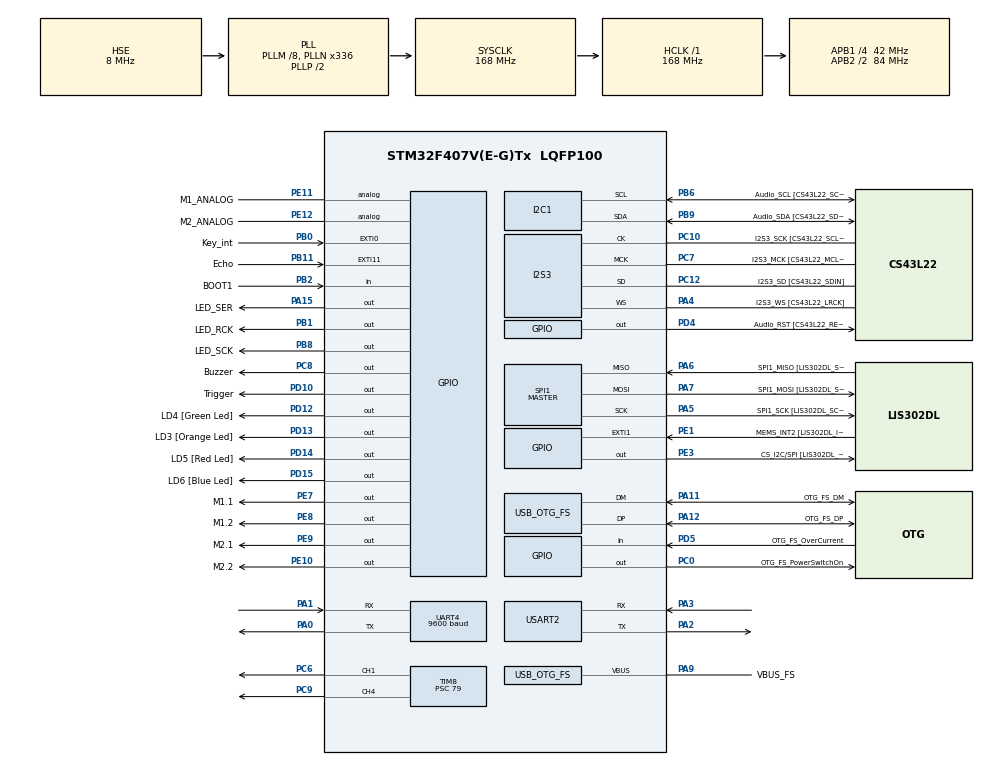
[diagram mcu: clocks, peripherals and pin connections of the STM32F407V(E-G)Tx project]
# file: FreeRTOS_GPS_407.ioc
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Dma.Request0=TIM8_CH1
Dma.TIM8_CH1.0.Direction=DMA_MEMORY_TO_PERIPH
Dma.TIM8_CH1.0.FIFOMode=DMA_FIFOMODE_ENABLE
Dma.TIM8_CH1.0.FIFOThreshold=DMA_FIFO_THRESHOLD_FULL
Dma.TIM8_CH1.0.Instance=DMA2_Stream2
Dma.TIM8_CH1.0.MemBurst=DMA_MBURST_SINGLE
Dma.TIM8_CH1.0.MemDataAlignment=DMA_MDATAALIGN_WORD
Dma.TIM8_CH1.0.MemInc=DMA_MINC_ENABLE
Dma.TIM8_CH1.0.Mode=DMA_NORMAL
Dma.TIM8_CH1.0.PeriphBurst=DMA_PBURST_SINGLE
Dma.TIM8_CH1.0.PeriphDataAlignment=DMA_PDATAALIGN_HALFWORD
Dma.TIM8_CH1.0.PeriphInc=DMA_PINC_DISABLE
Dma.TIM8_CH1.0.Priority=DMA_PRIORITY_LOW
FREERTOS.INCLUDE_pcTaskGetTaskName=1
FREERTOS.INCLUDE_xEventGroupSetBitFromISR=1
FREERTOS.INCLUDE_xTaskGetHandle=1
FREERTOS.Tasks01=defaultTask,24,128,StartDefaultTask,Default,NULL,Dynamic,NULL,NULL
FREERTOS.configTOTAL_HEAP_SIZE=64000
FREERTOS.configUSE_NEWLIB_REENTRANT=1
I2S3.AudioFreq-Half_Duplex_Master=I2S_AUDIOFREQ_96K
I2S3.ErrorAudioFreq=-2.34 %
I2S3.ErrorAudioFreq-Half_Duplex_Master=0.8 %
I2S3.FullDuplexMode=I2S_FULLDUPLEXMODE_DISABLE
I2S3.Instance=SPI$Index
I2S3.RealAudioFreq=93.75 KHz
I2S3.RealAudioFreq-Half_Duplex_Master=96.774 KHz
I2S3.VirtualMode=I2S_MODE_MASTER
Mcu.Family=STM32F4
Mcu.Name=STM32F407V(E-G)Tx
Mcu.Package=LQFP100
NVIC.DMA2_Stream2_IRQn=true\:5\:0\:false\:false\:true\:true\:false\:true\:true
NVIC.EXTI0_IRQn=true\:5\:0\:false\:false\:true\:true\:true\:true\:true
NVIC.EXTI15_10_IRQn=true\:5\:0\:true\:false\:true\:true\:true\:true\:true
NVIC.OTG_FS_IRQn=true\:5\:0\:false\:false\:true\:true\:true\:true\:true
NVIC.PriorityGroup=NVIC_PRIORITYGROUP_4
NVIC.TIM1_UP_TIM10_IRQn=true\:0\:0\:false\:false\:true\:false\:false\:true\:true
NVIC.TimeBase=TIM1_UP_TIM10_IRQn
NVIC.TimeBaseIP=TIM1
NVIC.UART4_IRQn=true\:5\:0\:false\:false\:true\:true\:true\:true\:true
NVIC.USART2_IRQn=true\:5\:0\:false\:false\:true\:true\:true\:true\:true
PA0-WKUP.Mode=Asynchronous
PA0-WKUP.Signal=UART4_TX
PA1.Mode=Asynchronous
PA1.Signal=UART4_RX
PA10.GPIO_Label=OTG_FS_ID
PA10.GPIO_Mode=GPIO_MODE_AF_PP
PA10.GPIO_PuPd=GPIO_NOPULL
PA10.GPIO_Speed=GPIO_SPEED_FREQ_LOW
PA10.Signal=USB_OTG_FS_ID
PA11.GPIO_Label=OTG_FS_DM
PA11.GPIO_Mode=GPIO_MODE_AF_PP
PA11.GPIO_PuPd=GPIO_NOPULL
PA11.GPIO_Speed=GPIO_SPEED_FREQ_LOW
PA11.Mode=Host_Only
PA11.Signal=USB_OTG_FS_DM
PA12.GPIO_Label=OTG_FS_DP
PA12.GPIO_Mode=GPIO_MODE_AF_PP
PA12.GPIO_PuPd=GPIO_NOPULL
PA12.GPIO_Speed=GPIO_SPEED_FREQ_LOW
PA12.Mode=Host_Only
PA12.Signal=USB_OTG_FS_DP
PA13.GPIO_Label=SWDIO
PA13.Mode=Serial_Wire
PA13.Signal=SYS_JTMS-SWDIO
PA14.GPIO_Label=SWCLK
PA14.Mode=Serial_Wire
PA14.Signal=SYS_JTCK-SWCLK
PA15.GPIO_Label=LED_SER
PA15.Signal=GPIO_Output
PA2.Mode=Asynchronous
PA2.Signal=USART2_TX
PA3.Mode=Asynchronous
PA3.Signal=USART2_RX
PA4.GPIO_Label=I2S3_WS [CS43L22_LRCK]
PA4.GPIO_Mode=GPIO_MODE_AF_PP
PA4.GPIO_PuPd=GPIO_NOPULL
PA4.GPIO_Speed=GPIO_SPEED_FREQ_LOW
PA4.Mode=Half_Duplex_Master
PA4.Signal=I2S3_WS
PA5.GPIO_Label=SPI1_SCK [LIS302DL_SCL/SPC]
PA5.GPIO_Mode=GPIO_MODE_AF_PP
PA5.GPIO_PuPd=GPIO_NOPULL
PA5.GPIO_Speed=GPIO_SPEED_FREQ_LOW
PA5.Mode=Full_Duplex_Master
PA5.Signal=SPI1_SCK
PA6.GPIO_Label=SPI1_MISO [LIS302DL_SDO]
PA6.GPIO_Mode=GPIO_MODE_AF_PP
PA6.GPIO_PuPd=GPIO_NOPULL
PA6.GPIO_Speed=GPIO_SPEED_FREQ_LOW
PA6.Mode=Full_Duplex_Master
PA6.Signal=SPI1_MISO
PA7.GPIO_Label=SPI1_MOSI [LIS302DL_SDA/SDI/SDO]
PA7.GPIO_Mode=GPIO_MODE_AF_PP
PA7.GPIO_PuPd=GPIO_NOPULL
PA7.GPIO_Speed=GPIO_SPEED_FREQ_LOW
PA7.Mode=Full_Duplex_Master
PA7.Signal=SPI1_MOSI
PA9.GPIO_Label=VBUS_FS
PA9.GPIO_Mode=GPIO_MODE_INPUT
PA9.GPIO_PuPd=GPIO_NOPULL
PA9.Mode=Activate_VBUS
PA9.Signal=USB_OTG_FS_VBUS
PB0.GPIO_Label=Key_int
PB0.Signal=GPXTI0
PB1.GPIO_Label=LED_RCK
PB1.Signal=GPIO_Output
PB10.GPIO_Label=CLK_IN [MP45DT02_CLK]
PB10.GPIO_Mode=GPIO_MODE_AF_PP
PB10.GPIO_PuPd=GPIO_NOPULL
PB10.GPIO_Speed=GPIO_SPEED_FREQ_LOW
PB10.Signal=I2S2_CK
PB11.GPIO_Label=Echo
PB11.GPIO_ModeDefaultEXTI=GPIO_MODE_IT_RISING_FALLING
PB11.Signal=GPXTI11
PB2.GPIO_Label=BOOT1
PB2.GPIO_Mode=GPIO_MODE_INPUT
PB2.GPIO_PuPd=GPIO_NOPULL
PB2.Signal=GPIO_Input
PB3.GPIO_Label=SWO
PB3.Signal=SYS_JTDO-SWO
PB6.GPIO_Label=Audio_SCL [CS43L22_SCL]
PB6.GPIO_Mode=GPIO_MODE_AF_OD
PB6.GPIO_Pu=GPIO_PULLUP
PB6.GPIO_PuPd=GPIO_NOPULL
PB6.GPIO_Speed=GPIO_SPEED_FREQ_LOW
PB6.Mode=I2C
PB6.Signal=I2C1_SCL
PB8.GPIO_Label=LED_SCK
PB8.Signal=GPIO_Output
PB9.GPIO_Label=Audio_SDA [CS43L22_SDA]
PB9.GPIO_Mode=GPIO_MODE_AF_OD
PB9.GPIO_Pu=GPIO_PULLUP
PB9.GPIO_PuPd=GPIO_NOPULL
PB9.GPIO_Speed=GPIO_SPEED_FREQ_LOW
PB9.Mode=I2C
PB9.Signal=I2C1_SDA
PC0.GPIO_Label=OTG_FS_PowerSwitchOn
PC0.GPIO_PuPd=GPIO_NOPULL
PC0.GPIO_Speed=GPIO_SPEED_FREQ_LOW
PC0.PinState=GPIO_PIN_SET
PC0.Signal=GPIO_Output
PC10.GPIO_Label=I2S3_SCK [CS43L22_SCLK]
PC10.GPIO_Mode=GPIO_MODE_AF_PP
PC10.GPIO_PuPd=GPIO_NOPULL
PC10.GPIO_Speed=GPIO_SPEED_FREQ_LOW
PC10.Mode=Half_Duplex_Master
PC10.Signal=I2S3_CK
PC12.GPIO_Label=I2S3_SD [CS43L22_SDIN]
PC12.GPIO_Mode=GPIO_MODE_AF_PP
PC12.GPIO_PuPd=GPIO_NOPULL
PC12.GPIO_Speed=GPIO_SPEED_FREQ_LOW
PC12.Mode=Half_Duplex_Master
PC12.Signal=I2S3_SD
PC14-OSC32_IN.GPIO_Label=PC14-OSC32_IN
PC14-OSC32_IN.Mode=LSE-External-Oscillator
PC14-OSC32_IN.Signal=RCC_OSC32_IN
PC15-OSC32_OUT.GPIO_Label=PC15-OSC32_OUT
PC15-OSC32_OUT.Mode=LSE-External-Oscillator
PC15-OSC32_OUT.Signal=RCC_OSC32_OUT
PC3.GPIO_Label=PDM_OUT [MP45DT02_DOUT]
PC3.GPIO_Mode=GPIO_MODE_AF_PP
PC3.GPIO_PuPd=GPIO_NOPULL
PC3.GPIO_Speed=GPIO_SPEED_FREQ_LOW
PC3.Signal=I2S2_SD
PC6.Signal=S_TIM8_CH1
PC7.GPIO_Label=I2S3_MCK [CS43L22_MCLK]
PC7.GPIO_Mode=GPIO_MODE_AF_PP
PC7.GPIO_PuPd=GPIO_NOPULL
PC7.GPIO_Speed=GPIO_SPEED_FREQ_LOW
PC7.Mode=Master_Clock_Activated
PC7.Signal=I2S3_MCK
PC8.GPIO_Label=Buzzer
PC8.Signal=GPIO_Output
PC9.Signal=S_TIM8_CH4
PD10.GPIO_Label=Trigger
PD10.GPIO_Speed=GPIO_SPEED_FREQ_VERY_HIGH
PD10.Signal=GPIO_Output
PD12.GPIO_Label=LD4 [Green Led]
PD12.GPIO_PuPd=GPIO_NOPULL
PD12.GPIO_Speed=GPIO_SPEED_FREQ_LOW
PD12.Signal=GPIO_Output
PD13.GPIO_Label=LD3 [Orange Led]
PD13.GPIO_PuPd=GPIO_NOPULL
PD13.GPIO_Speed=GPIO_SPEED_FREQ_LOW
PD13.Signal=GPIO_Output
PD14.GPIO_Label=LD5 [Red Led]
PD14.GPIO_PuPd=GPIO_NOPULL
PD14.GPIO_Speed=GPIO_SPEED_FREQ_LOW
PD14.Signal=GPIO_Output
PD15.GPIO_Label=LD6 [Blue Led]
PD15.GPIO_PuPd=GPIO_NOPULL
PD15.GPIO_Speed=GPIO_SPEED_FREQ_LOW
PD15.Signal=GPIO_Output
PD4.GPIO_Label=Audio_RST [CS43L22_RESET]
PD4.GPIO_PuPd=GPIO_NOPULL
PD4.GPIO_Speed=GPIO_SPEED_FREQ_LOW
PD4.Signal=GPIO_Output
PD5.GPIO_Label=OTG_FS_OverCurrent
PD5.GPIO_Mode=GPIO_MODE_INPUT
PD5.GPIO_PuPd=GPIO_NOPULL
PD5.Signal=GPIO_Input
PE1.GPIO_Label=MEMS_INT2 [LIS302DL_INT2]
PE1.GPIO_ModeDefaultEXTI=GPIO_MODE_EVT_RISING
PE1.GPIO_PuPd=GPIO_NOPULL
PE1.Signal=GPXTI1
PE10.GPIO_Label=M2.2
PE10.Signal=GPIO_Output
PE11.GPIO_Label=M1_ANALOG
PE11.Signal=GPIO_Analog
PE12.GPIO_Label=M2_ANALOG
PE12.Signal=GPIO_Analog
PE3.GPIO_Label=CS_I2C/SPI [LIS302DL_CS_I2C/SPI]
PE3.GPIO_PuPd=GPIO_NOPULL
PE3.GPIO_Speed=GPIO_SPEED_FREQ_LOW
PE3.Signal=GPIO_Output
PE7.GPIO_Label=M1.1
PE7.Signal=GPIO_Output
PE8.GPIO_Label=M1.2
PE8.Signal=GPIO_Output
PE9.GPIO_Label=M2.1
PE9.Signal=GPIO_Output
PH0-OSC_IN.GPIO_Label=PH0-OSC_IN
PH0-OSC_IN.Mode=HSE-External-Oscillator
PH0-OSC_IN.Signal=RCC_OSC_IN
PH1-OSC_OUT.GPIO_Label=PH1-OSC_OUT
PH1-OSC_OUT.Mode=HSE-External-Oscillator
PH1-OSC_OUT.Signal=RCC_OSC_OUT
ProjectManager.HeapSize=0x200
ProjectManager.StackSize=0x400
ProjectManager.TargetToolchain=STM32CubeIDE
RCC.48MHZClocksFreq_Value=48000000
RCC.AHBFreq_Value=168000000
RCC.APB1CLKDivider=RCC_HCLK_DIV4
RCC.APB1Freq_Value=42000000
RCC.APB1TimFreq_Value=84000000
RCC.APB2CLKDivider=RCC_HCLK_DIV2
RCC.APB2Freq_Value=84000000
RCC.APB2TimFreq_Value=168000000
RCC.CortexFreq_Value=168000000
RCC.HCLKFreq_Value=168000000
RCC.HSE_VALUE=8000000
RCC.HSI_VALUE=16000000
RCC.PLLM=8
RCC.PLLN=336
RCC.PLLQ=7
RCC.SYSCLKFreq_VALUE=168000000
RCC.SYSCLKSource=RCC_SYSCLKSOURCE_PLLCLK
RCC.VCOOutputFreq_Value=336000000
SH.S_TIM8_CH1.0=TIM8_CH1,PWM Generation1 CH1
SH.S_TIM8_CH4.0=TIM8_CH4,PWM Generation4 CH4
SPI1.BaudRatePrescaler-Full_Duplex_Master=SPI_BAUDRATEPRESCALER_2
SPI1.CalculateBaudRate-Full_Duplex_Master=42.0 MBits/s
SPI1.Direction=SPI_DIRECTION_2LINES
SPI1.Mode=SPI_MODE_MASTER
SPI1.Mode-Full_Duplex_Master=SPI_MODE_MASTER
SPI1.VirtualType=VM_MASTER
TIM2.Prescaler=83
TIM5.Prescaler=83
TIM8.Channel-PWM\ Generation1\ CH1=TIM_CHANNEL_1
TIM8.Channel-PWM\ Generation4\ CH4=TIM_CHANNEL_4
TIM8.Period=2000
TIM8.Prescaler=79
TIM8.Pulse-PWM\ Generation1\ CH1=1
UART4.BaudRate=9600
UART4.VirtualMode=Asynchronous
USART2.VirtualMode=VM_ASYNC
USB_HOST.BSP.number=1
USB_HOST.USBH_HandleTypeDef-CDC_FS=hUsbHostFS
USB_HOST.VirtualModeFS=Cdc
USB_HOST0.BSP.STBoard=false
USB_HOST0.BSP.api=Unknown
USB_HOST0.BSP.instance=PC0
USB_HOST0.BSP.ip=GPIO
USB_HOST0.BSP.mode=Output
USB_HOST0.BSP.name=Drive_VBUS_FS
USB_HOST0.BSP.solution=PC0
USB_OTG_FS.VirtualMode=Host_Only
USB_OTG_FS.phy_itface=HCD_PHY_EMBEDDED
VP_FREERTOS_VS_CMSIS_V2.Mode=CMSIS_V2
VP_SYS_VS_tim1.Mode=TIM1
VP_TIM2_VS_ClockSourceINT.Mode=Internal
VP_TIM5_VS_ClockSourceINT.Mode=Internal
VP_USB_HOST_VS_USB_HOST_CDC_FS.Mode=CDC_FS
board=STM32F407G-DISC1

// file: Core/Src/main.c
/* USER CODE BEGIN Header */
/**
  ******************************************************************************
  * @file           : main.c
  * @brief          : Main program body
  *
  ******************************************************************************
  * @attention Het grootste deel van deze main.c wordt gegenereerd door STM.
  * Eigen code bevindt zich op 'gereserveerde' plekken, wees daar voorzichtig mee.
  * Om deze reden heb ik zo min mogelijk 'eigen code' toegevoegd.
  *
  * <h2><center>&copy; Copyright (c) 2021 STMicroelectronics.
  * All rights reserved.</center></h2>
  *
  * This software component is licensed by ST under Ultimate Liberty license
  * SLA0044, the "License"; You may not use this file except in compliance with
  * the License. You may obtain a copy of the License at:
  *                             www.st.com/SLA0044
  *
  ******************************************************************************
  */
/* USER CODE END Header */
#include "main.h"
#include "cmsis_os.h"
#include "usb_host.h"

/* USER CODE BEGIN Includes */
#include "admin.h"
#include "ultrasonic.h"

/* USER CODE END Includes */

I2C_HandleTypeDef hi2c1;

I2S_HandleTypeDef hi2s3;

SPI_HandleTypeDef hspi1;

TIM_HandleTypeDef htim2;
TIM_HandleTypeDef htim5;
TIM_HandleTypeDef htim8;
DMA_HandleTypeDef hdma_tim8_ch1;

UART_HandleTypeDef huart4;
UART_HandleTypeDef huart2;

/* Definitions for defaultTask */
osThreadId_t defaultTaskHandle;
const osThreadAttr_t defaultTask_attributes = {
  .name = "defaultTask",
  .stack_size = 128 * 4,
  .priority = (osPriority_t) osPriorityNormal,
};
/* USER CODE BEGIN PV */
unsigned char 	uart4_char, uart2_char;

/* USER CODE END PV */

void SystemClock_Config(void);
static void MX_GPIO_Init(void);
static void MX_DMA_Init(void);
static void MX_I2C1_Init(void);
static void MX_I2S3_Init(void);
static void MX_SPI1_Init(void);
static void MX_USART2_UART_Init(void);
static void MX_UART4_Init(void);
static void MX_TIM2_Init(void);
static void MX_TIM5_Init(void);
static void MX_TIM8_Init(void);
void StartDefaultTask(void *argument);

int main(void)
{

  /* MCU Configuration--------------------------------------------------------*/

  /* Reset of all peripherals, Initializes the Flash interface and the Systick. */
  HAL_Init();

  /* Configure the system clock */
  SystemClock_Config();

  /* Initialize all configured peripherals */
  MX_GPIO_Init();
  MX_DMA_Init();
  MX_I2C1_Init();
  MX_I2S3_Init();
  MX_SPI1_Init();
  MX_USART2_UART_Init();
  MX_UART4_Init();
  MX_TIM2_Init();
  MX_TIM5_Init();
  MX_TIM8_Init();
  /* USER CODE BEGIN 2 */

  TIM8->CCR1 = 2100;
  TIM8->CCR4 = 2100;
  HAL_TIM_PWM_Start(&htim8, TIM_CHANNEL_1);
  HAL_TIM_PWM_Start(&htim8, TIM_CHANNEL_4);

  xEchoEventGroup = xEventGroupCreate();
  if (xEchoEventGroup == NULL)
  {
  	Error_Handler();
  }

  LCD_init();
  KEYS_init();
  KEYS_initISR(1); // set all lines high once
  LED_init();

  DisplayVersion();
  osDelay(500); // time to read version

  /* USER CODE END 2 */

  /* Init scheduler */
  osKernelInitialize();

  /* Create the thread(s) */
  /* creation of defaultTask */
  defaultTaskHandle = osThreadNew(StartDefaultTask, NULL, &defaultTask_attributes);

  /* Start scheduler */
  osKernelStart();

  /* We should never get here as control is now taken by the scheduler */

  /* Infinite loop */
  while (1)
  {

  }
}

void SystemClock_Config(void)
{
  RCC_OscInitTypeDef RCC_OscInitStruct = {0};
  RCC_ClkInitTypeDef RCC_ClkInitStruct = {0};

  /** Configure the main internal regulator output voltage
  */
  __HAL_RCC_PWR_CLK_ENABLE();
  __HAL_PWR_VOLTAGESCALING_CONFIG(PWR_REGULATOR_VOLTAGE_SCALE1);

  /** Initializes the RCC Oscillators according to the specified parameters
  * in the RCC_OscInitTypeDef structure.
  */
  RCC_OscInitStruct.OscillatorType = RCC_OSCILLATORTYPE_HSE;
  RCC_OscInitStruct.HSEState = RCC_HSE_ON;
  RCC_OscInitStruct.PLL.PLLState = RCC_PLL_ON;
  RCC_OscInitStruct.PLL.PLLSource = RCC_PLLSOURCE_HSE;
  RCC_OscInitStruct.PLL.PLLM = 8;
  RCC_OscInitStruct.PLL.PLLN = 336;
  RCC_OscInitStruct.PLL.PLLP = RCC_PLLP_DIV2;
  RCC_OscInitStruct.PLL.PLLQ = 7;
  if (HAL_RCC_OscConfig(&RCC_OscInitStruct) != HAL_OK)
  {
    Error_Handler();
  }

  /** Initializes the CPU, AHB and APB buses clocks
  */
  RCC_ClkInitStruct.ClockType = RCC_CLOCKTYPE_HCLK|RCC_CLOCKTYPE_SYSCLK
                              |RCC_CLOCKTYPE_PCLK1|RCC_CLOCKTYPE_PCLK2;
  RCC_ClkInitStruct.SYSCLKSource = RCC_SYSCLKSOURCE_PLLCLK;
  RCC_ClkInitStruct.AHBCLKDivider = RCC_SYSCLK_DIV1;
  RCC_ClkInitStruct.APB1CLKDivider = RCC_HCLK_DIV4;
  RCC_ClkInitStruct.APB2CLKDivider = RCC_HCLK_DIV2;

  if (HAL_RCC_ClockConfig(&RCC_ClkInitStruct, FLASH_LATENCY_5) != HAL_OK)
  {
    Error_Handler();
  }
}

static void MX_I2C1_Init(void)
{

  hi2c1.Instance = I2C1;
  hi2c1.Init.ClockSpeed = 100000;
  hi2c1.Init.DutyCycle = I2C_DUTYCYCLE_2;
  hi2c1.Init.OwnAddress1 = 0;
  hi2c1.Init.AddressingMode = I2C_ADDRESSINGMODE_7BIT;
  hi2c1.Init.DualAddressMode = I2C_DUALADDRESS_DISABLE;
  hi2c1.Init.OwnAddress2 = 0;
  hi2c1.Init.GeneralCallMode = I2C_GENERALCALL_DISABLE;
  hi2c1.Init.NoStretchMode = I2C_NOSTRETCH_DISABLE;
  if (HAL_I2C_Init(&hi2c1) != HAL_OK)
  {
    Error_Handler();
  }

}

static void MX_I2S3_Init(void)
{

  hi2s3.Instance = SPI3;
  hi2s3.Init.Mode = I2S_MODE_MASTER_TX;
  hi2s3.Init.Standard = I2S_STANDARD_PHILIPS;
  hi2s3.Init.DataFormat = I2S_DATAFORMAT_16B;
  hi2s3.Init.MCLKOutput = I2S_MCLKOUTPUT_ENABLE;
  hi2s3.Init.AudioFreq = I2S_AUDIOFREQ_96K;
  hi2s3.Init.CPOL = I2S_CPOL_LOW;
  hi2s3.Init.ClockSource = I2S_CLOCK_PLL;
  hi2s3.Init.FullDuplexMode = I2S_FULLDUPLEXMODE_DISABLE;
  if (HAL_I2S_Init(&hi2s3) != HAL_OK)
  {
    Error_Handler();
  }

}

static void MX_SPI1_Init(void)
{

  /* SPI1 parameter configuration*/
  hspi1.Instance = SPI1;
  hspi1.Init.Mode = SPI_MODE_MASTER;
  hspi1.Init.Direction = SPI_DIRECTION_2LINES;
  hspi1.Init.DataSize = SPI_DATASIZE_8BIT;
  hspi1.Init.CLKPolarity = SPI_POLARITY_LOW;
  hspi1.Init.CLKPhase = SPI_PHASE_1EDGE;
  hspi1.Init.NSS = SPI_NSS_SOFT;
  hspi1.Init.BaudRatePrescaler = SPI_BAUDRATEPRESCALER_2;
  hspi1.Init.FirstBit = SPI_FIRSTBIT_MSB;
  hspi1.Init.TIMode = SPI_TIMODE_DISABLE;
  hspi1.Init.CRCCalculation = SPI_CRCCALCULATION_DISABLE;
  hspi1.Init.CRCPolynomial = 10;
  if (HAL_SPI_Init(&hspi1) != HAL_OK)
  {
    Error_Handler();
  }

}

static void MX_TIM2_Init(void)
{

  TIM_ClockConfigTypeDef sClockSourceConfig = {0};
  TIM_MasterConfigTypeDef sMasterConfig = {0};

  htim2.Instance = TIM2;
  htim2.Init.Prescaler = 83;
  htim2.Init.CounterMode = TIM_COUNTERMODE_UP;
  htim2.Init.Period = 4294967295;
  htim2.Init.ClockDivision = TIM_CLOCKDIVISION_DIV1;
  htim2.Init.AutoReloadPreload = TIM_AUTORELOAD_PRELOAD_DISABLE;
  if (HAL_TIM_Base_Init(&htim2) != HAL_OK)
  {
    Error_Handler();
  }
  sClockSourceConfig.ClockSource = TIM_CLOCKSOURCE_INTERNAL;
  if (HAL_TIM_ConfigClockSource(&htim2, &sClockSourceConfig) != HAL_OK)
  {
    Error_Handler();
  }
  sMasterConfig.MasterOutputTrigger = TIM_TRGO_RESET;
  sMasterConfig.MasterSlaveMode = TIM_MASTERSLAVEMODE_DISABLE;
  if (HAL_TIMEx_MasterConfigSynchronization(&htim2, &sMasterConfig) != HAL_OK)
  {
    Error_Handler();
  }

}

static void MX_TIM5_Init(void)
{

  TIM_ClockConfigTypeDef sClockSourceConfig = {0};
  TIM_MasterConfigTypeDef sMasterConfig = {0};

  htim5.Instance = TIM5;
  htim5.Init.Prescaler = 83;
  htim5.Init.CounterMode = TIM_COUNTERMODE_UP;
  htim5.Init.Period = 4294967295;
  htim5.Init.ClockDivision = TIM_CLOCKDIVISION_DIV1;
  htim5.Init.AutoReloadPreload = TIM_AUTORELOAD_PRELOAD_DISABLE;
  if (HAL_TIM_Base_Init(&htim5) != HAL_OK)
  {
    Error_Handler();
  }
  sClockSourceConfig.ClockSource = TIM_CLOCKSOURCE_INTERNAL;
  if (HAL_TIM_ConfigClockSource(&htim5, &sClockSourceConfig) != HAL_OK)
  {
    Error_Handler();
  }
  sMasterConfig.MasterOutputTrigger = TIM_TRGO_RESET;
  sMasterConfig.MasterSlaveMode = TIM_MASTERSLAVEMODE_DISABLE;
  if (HAL_TIMEx_MasterConfigSynchronization(&htim5, &sMasterConfig) != HAL_OK)
  {
    Error_Handler();
  }

}

static void MX_TIM8_Init(void)
{

  TIM_MasterConfigTypeDef sMasterConfig = {0};
  TIM_OC_InitTypeDef sConfigOC = {0};
  TIM_BreakDeadTimeConfigTypeDef sBreakDeadTimeConfig = {0};

  htim8.Instance = TIM8;
  htim8.Init.Prescaler = 79;
  htim8.Init.CounterMode = TIM_COUNTERMODE_UP;
  htim8.Init.Period = 2000;
  htim8.Init.ClockDivision = TIM_CLOCKDIVISION_DIV1;
  htim8.Init.RepetitionCounter = 0;
  htim8.Init.AutoReloadPreload = TIM_AUTORELOAD_PRELOAD_DISABLE;
  if (HAL_TIM_PWM_Init(&htim8) != HAL_OK)
  {
    Error_Handler();
  }
  sMasterConfig.MasterOutputTrigger = TIM_TRGO_RESET;
  sMasterConfig.MasterSlaveMode = TIM_MASTERSLAVEMODE_DISABLE;
  if (HAL_TIMEx_MasterConfigSynchronization(&htim8, &sMasterConfig) != HAL_OK)
  {
    Error_Handler();
  }
  sConfigOC.OCMode = TIM_OCMODE_PWM1;
  sConfigOC.Pulse = 1;
  sConfigOC.OCPolarity = TIM_OCPOLARITY_HIGH;
  sConfigOC.OCNPolarity = TIM_OCNPOLARITY_HIGH;
  sConfigOC.OCFastMode = TIM_OCFAST_DISABLE;
  sConfigOC.OCIdleState = TIM_OCIDLESTATE_RESET;
  sConfigOC.OCNIdleState = TIM_OCNIDLESTATE_RESET;
  if (HAL_TIM_PWM_ConfigChannel(&htim8, &sConfigOC, TIM_CHANNEL_1) != HAL_OK)
  {
    Error_Handler();
  }
  sConfigOC.Pulse = 0;
  if (HAL_TIM_PWM_ConfigChannel(&htim8, &sConfigOC, TIM_CHANNEL_4) != HAL_OK)
  {
    Error_Handler();
  }
  sBreakDeadTimeConfig.OffStateRunMode = TIM_OSSR_DISABLE;
  sBreakDeadTimeConfig.OffStateIDLEMode = TIM_OSSI_DISABLE;
  sBreakDeadTimeConfig.LockLevel = TIM_LOCKLEVEL_OFF;
  sBreakDeadTimeConfig.DeadTime = 0;
  sBreakDeadTimeConfig.BreakState = TIM_BREAK_DISABLE;
  sBreakDeadTimeConfig.BreakPolarity = TIM_BREAKPOLARITY_HIGH;
  sBreakDeadTimeConfig.AutomaticOutput = TIM_AUTOMATICOUTPUT_DISABLE;
  if (HAL_TIMEx_ConfigBreakDeadTime(&htim8, &sBreakDeadTimeConfig) != HAL_OK)
  {
    Error_Handler();
  }
  HAL_TIM_MspPostInit(&htim8);

}

static void MX_UART4_Init(void)
{

  huart4.Instance = UART4;
  huart4.Init.BaudRate = 9600;
  huart4.Init.WordLength = UART_WORDLENGTH_8B;
  huart4.Init.StopBits = UART_STOPBITS_1;
  huart4.Init.Parity = UART_PARITY_NONE;
  huart4.Init.Mode = UART_MODE_TX_RX;
  huart4.Init.HwFlowCtl = UART_HWCONTROL_NONE;
  huart4.Init.OverSampling = UART_OVERSAMPLING_16;
  if (HAL_UART_Init(&huart4) != HAL_OK)
  {
    Error_Handler();
  }

}

static void MX_USART2_UART_Init(void)
{

  huart2.Instance = USART2;
  huart2.Init.BaudRate = 115200;
  huart2.Init.WordLength = UART_WORDLENGTH_8B;
  huart2.Init.StopBits = UART_STOPBITS_1;
  huart2.Init.Parity = UART_PARITY_NONE;
  huart2.Init.Mode = UART_MODE_TX_RX;
  huart2.Init.HwFlowCtl = UART_HWCONTROL_NONE;
  huart2.Init.OverSampling = UART_OVERSAMPLING_16;
  if (HAL_UART_Init(&huart2) != HAL_OK)
  {
    Error_Handler();
  }

}

static void MX_DMA_Init(void)
{

  /* DMA controller clock enable */
  __HAL_RCC_DMA2_CLK_ENABLE();

  /* DMA interrupt init */
  /* DMA2_Stream2_IRQn interrupt configuration */
  HAL_NVIC_SetPriority(DMA2_Stream2_IRQn, 5, 0);
  HAL_NVIC_EnableIRQ(DMA2_Stream2_IRQn);

}

static void MX_GPIO_Init(void)
{
  GPIO_InitTypeDef GPIO_InitStruct = {0};

  /* GPIO Ports Clock Enable */
  __HAL_RCC_GPIOE_CLK_ENABLE();
  __HAL_RCC_GPIOC_CLK_ENABLE();
  __HAL_RCC_GPIOH_CLK_ENABLE();
  __HAL_RCC_GPIOA_CLK_ENABLE();
  __HAL_RCC_GPIOB_CLK_ENABLE();
  __HAL_RCC_GPIOD_CLK_ENABLE();

  /*Configure GPIO pin Output Level */
  HAL_GPIO_WritePin(GPIOE, CS_I2C_SPI_Pin|M1_1_Pin|M1_2_Pin|M2_1_Pin
                          |M2_2_Pin, GPIO_PIN_RESET);

  /*Configure GPIO pin Output Level */
  HAL_GPIO_WritePin(OTG_FS_PowerSwitchOn_GPIO_Port, OTG_FS_PowerSwitchOn_Pin, GPIO_PIN_SET);

  /*Configure GPIO pin Output Level */
  HAL_GPIO_WritePin(GPIOB, LED_RCK_Pin|LED_SCK_Pin, GPIO_PIN_RESET);

  /*Configure GPIO pin Output Level */
  HAL_GPIO_WritePin(GPIOD, Trigger_Pin|LD4_Pin|LD3_Pin|LD5_Pin
                          |LD6_Pin|Audio_RST_Pin, GPIO_PIN_RESET);

  /*Configure GPIO pin Output Level */
  HAL_GPIO_WritePin(Buzzer_GPIO_Port, Buzzer_Pin, GPIO_PIN_RESET);

  /*Configure GPIO pin Output Level */
  HAL_GPIO_WritePin(LED_SER_GPIO_Port, LED_SER_Pin, GPIO_PIN_RESET);

  /*Configure GPIO pins : CS_I2C_SPI_Pin M1_1_Pin M1_2_Pin M2_1_Pin
                           M2_2_Pin */
  GPIO_InitStruct.Pin = CS_I2C_SPI_Pin|M1_1_Pin|M1_2_Pin|M2_1_Pin
                          |M2_2_Pin;
  GPIO_InitStruct.Mode = GPIO_MODE_OUTPUT_PP;
  GPIO_InitStruct.Pull = GPIO_NOPULL;
  GPIO_InitStruct.Speed = GPIO_SPEED_FREQ_LOW;
  HAL_GPIO_Init(GPIOE, &GPIO_InitStruct);

  /*Configure GPIO pins : OTG_FS_PowerSwitchOn_Pin Buzzer_Pin */
  GPIO_InitStruct.Pin = OTG_FS_PowerSwitchOn_Pin|Buzzer_Pin;
  GPIO_InitStruct.Mode = GPIO_MODE_OUTPUT_PP;
  GPIO_InitStruct.Pull = GPIO_NOPULL;
  GPIO_InitStruct.Speed = GPIO_SPEED_FREQ_LOW;
  HAL_GPIO_Init(GPIOC, &GPIO_InitStruct);

  /*Configure GPIO pin : PDM_OUT_Pin */
  GPIO_InitStruct.Pin = PDM_OUT_Pin;
  GPIO_InitStruct.Mode = GPIO_MODE_AF_PP;
  GPIO_InitStruct.Pull = GPIO_NOPULL;
  GPIO_InitStruct.Speed = GPIO_SPEED_FREQ_LOW;
  GPIO_InitStruct.Alternate = GPIO_AF5_SPI2;
  HAL_GPIO_Init(PDM_OUT_GPIO_Port, &GPIO_InitStruct);

  /*Configure GPIO pin : Key_int_Pin */
  GPIO_InitStruct.Pin = Key_int_Pin;
  GPIO_InitStruct.Mode = GPIO_MODE_IT_RISING;
  GPIO_InitStruct.Pull = GPIO_NOPULL;
  HAL_GPIO_Init(Key_int_GPIO_Port, &GPIO_InitStruct);

  /*Configure GPIO pins : LED_RCK_Pin LED_SCK_Pin */
  GPIO_InitStruct.Pin = LED_RCK_Pin|LED_SCK_Pin;
  GPIO_InitStruct.Mode = GPIO_MODE_OUTPUT_PP;
  GPIO_InitStruct.Pull = GPIO_NOPULL;
  GPIO_InitStruct.Speed = GPIO_SPEED_FREQ_LOW;
  HAL_GPIO_Init(GPIOB, &GPIO_InitStruct);

  /*Configure GPIO pin : BOOT1_Pin */
  GPIO_InitStruct.Pin = BOOT1_Pin;
  GPIO_InitStruct.Mode = GPIO_MODE_INPUT;
  GPIO_InitStruct.Pull = GPIO_NOPULL;
  HAL_GPIO_Init(BOOT1_GPIO_Port, &GPIO_InitStruct);

  /*Configure GPIO pins : M1_ANALOG_Pin M2_ANALOG_Pin */
  GPIO_InitStruct.Pin = M1_ANALOG_Pin|M2_ANALOG_Pin;
  GPIO_InitStruct.Mode = GPIO_MODE_ANALOG;
  GPIO_InitStruct.Pull = GPIO_NOPULL;
  HAL_GPIO_Init(GPIOE, &GPIO_InitStruct);

  /*Configure GPIO pin : CLK_IN_Pin */
  GPIO_InitStruct.Pin = CLK_IN_Pin;
  GPIO_InitStruct.Mode = GPIO_MODE_AF_PP;
  GPIO_InitStruct.Pull = GPIO_NOPULL;
  GPIO_InitStruct.Speed = GPIO_SPEED_FREQ_LOW;
  GPIO_InitStruct.Alternate = GPIO_AF5_SPI2;
  HAL_GPIO_Init(CLK_IN_GPIO_Port, &GPIO_InitStruct);

  /*Configure GPIO pin : Echo_Pin */
  GPIO_InitStruct.Pin = Echo_Pin;
  GPIO_InitStruct.Mode = GPIO_MODE_IT_RISING_FALLING;
  GPIO_InitStruct.Pull = GPIO_NOPULL;
  HAL_GPIO_Init(Echo_GPIO_Port, &GPIO_InitStruct);

  /*Configure GPIO pin : Trigger_Pin */
  GPIO_InitStruct.Pin = Trigger_Pin;
  GPIO_InitStruct.Mode = GPIO_MODE_OUTPUT_PP;
  GPIO_InitStruct.Pull = GPIO_NOPULL;
  GPIO_InitStruct.Speed = GPIO_SPEED_FREQ_VERY_HIGH;
  HAL_GPIO_Init(Trigger_GPIO_Port, &GPIO_InitStruct);

  /*Configure GPIO pins : LD4_Pin LD3_Pin LD5_Pin LD6_Pin
                           Audio_RST_Pin */
  GPIO_InitStruct.Pin = LD4_Pin|LD3_Pin|LD5_Pin|LD6_Pin
                          |Audio_RST_Pin;
  GPIO_InitStruct.Mode = GPIO_MODE_OUTPUT_PP;
  GPIO_InitStruct.Pull = GPIO_NOPULL;
  GPIO_InitStruct.Speed = GPIO_SPEED_FREQ_LOW;
  HAL_GPIO_Init(GPIOD, &GPIO_InitStruct);

  /*Configure GPIO pin : LED_SER_Pin */
  GPIO_InitStruct.Pin = LED_SER_Pin;
  GPIO_InitStruct.Mode = GPIO_MODE_OUTPUT_PP;
  GPIO_InitStruct.Pull = GPIO_NOPULL;
  GPIO_InitStruct.Speed = GPIO_SPEED_FREQ_LOW;
  HAL_GPIO_Init(LED_SER_GPIO_Port, &GPIO_InitStruct);

  /*Configure GPIO pin : OTG_FS_OverCurrent_Pin */
  GPIO_InitStruct.Pin = OTG_FS_OverCurrent_Pin;
  GPIO_InitStruct.Mode = GPIO_MODE_INPUT;
  GPIO_InitStruct.Pull = GPIO_NOPULL;
  HAL_GPIO_Init(OTG_FS_OverCurrent_GPIO_Port, &GPIO_InitStruct);

  /*Configure GPIO pin : MEMS_INT2_Pin */
  GPIO_InitStruct.Pin = MEMS_INT2_Pin;
  GPIO_InitStruct.Mode = GPIO_MODE_EVT_RISING;
  GPIO_InitStruct.Pull = GPIO_NOPULL;
  HAL_GPIO_Init(MEMS_INT2_GPIO_Port, &GPIO_InitStruct);

  /* EXTI interrupt init*/
  HAL_NVIC_SetPriority(EXTI0_IRQn, 5, 0);
  HAL_NVIC_EnableIRQ(EXTI0_IRQn);

  HAL_NVIC_SetPriority(EXTI15_10_IRQn, 5, 0);
  HAL_NVIC_EnableIRQ(EXTI15_10_IRQn);

}

/* USER CODE BEGIN 4 */

/* only used in UART interrupt mode. Now configured as local UART echo*/

/**
  * @brief  ISR die UART-characters op een Queue zet. De core-functie wordt gegenereerd.
  * <p>Demonstreert: xQueueSendFromISR(); portYIELD_FROM_ISR();</p>
  * @param huart
  * @return void.
  */
void HAL_UART_RxCpltCallback(UART_HandleTypeDef *huart)
{
	if (huart->Instance == USART2) /// Receive data from usart/terminal
	{
		HAL_UART_Receive_IT(&huart2, &uart2_char, 1); /// Receive one byte in interrupt mode
		xQueueSendFromISR(hUART_Queue, &uart2_char, NULL); /// Zet de byte op de UART_queue
	}
	else if (huart->Instance == UART4) // receive data from GPS
	{
		HAL_UART_Receive_IT(&huart4, &uart4_char, 1); /// Receive one byte in interrupt mode
		xQueueSendFromISR(hGPS_Queue, &uart4_char, NULL);
	}
}

/* USER CODE END 4 */

void StartDefaultTask(void *argument)
{
  /* init code for USB_HOST */
  MX_USB_HOST_Init();
  /* USER CODE BEGIN 5 */
  //unsigned char byte1, byte2;

  CreateHandles();
  CreateTasks();

  // start the interrupt handlers after all handles are created
  HAL_UART_Receive_IT(&huart2, &uart2_char, 1); //start the UART2 interrupt engine for reading
  HAL_UART_Receive_IT(&huart4, &uart4_char, 1); //start the UART4 interrupt engine GPS

  /* Infinite loop */
  for(;;)
  {
    osDelay(1);
    vTaskDelete(defaultTaskHandle); // remove this default task
  }
  /* USER CODE END 5 */
}

void HAL_TIM_PeriodElapsedCallback(TIM_HandleTypeDef *htim)
{
  if (htim->Instance == TIM1)
  {
    HAL_IncTick();
  }
}

void Error_Handler(void)
{
  __disable_irq();
  while (1)
  {
  }
}

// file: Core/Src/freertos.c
/* USER CODE BEGIN Header */
/**
  ******************************************************************************
  * File Name          : freertos.c
  * Description        : Code for freertos applications
  ******************************************************************************
  * @attention
  *
  * Copyright (c) 2021 STMicroelectronics.
  * All rights reserved.
  *
  * This software is licensed under terms that can be found in the LICENSE file
  * in the root directory of this software component.
  * If no LICENSE file comes with this software, it is provided AS-IS.
  *
  ******************************************************************************
  */
/* USER CODE END Header */

#include "FreeRTOS.h"
#include "task.h"
#include "main.h"

/* USER CODE BEGIN FunctionPrototypes */
void configureTimerForRunTimeStats(void);
unsigned long getRunTimeCounterValue(void);
/* USER CODE END FunctionPrototypes */

/* USER CODE BEGIN Application */
__weak void configureTimerForRunTimeStats(void)
{
	CoreDebug->DEMCR |= CoreDebug_DEMCR_TRCENA_Msk;
	DWT->CTRL |=1;
	DWT->CYCCNT=0;
}

__weak unsigned long getRunTimeCounterValue(void)
{
	return DWT->CYCCNT;
}
/* USER CODE END Application */
